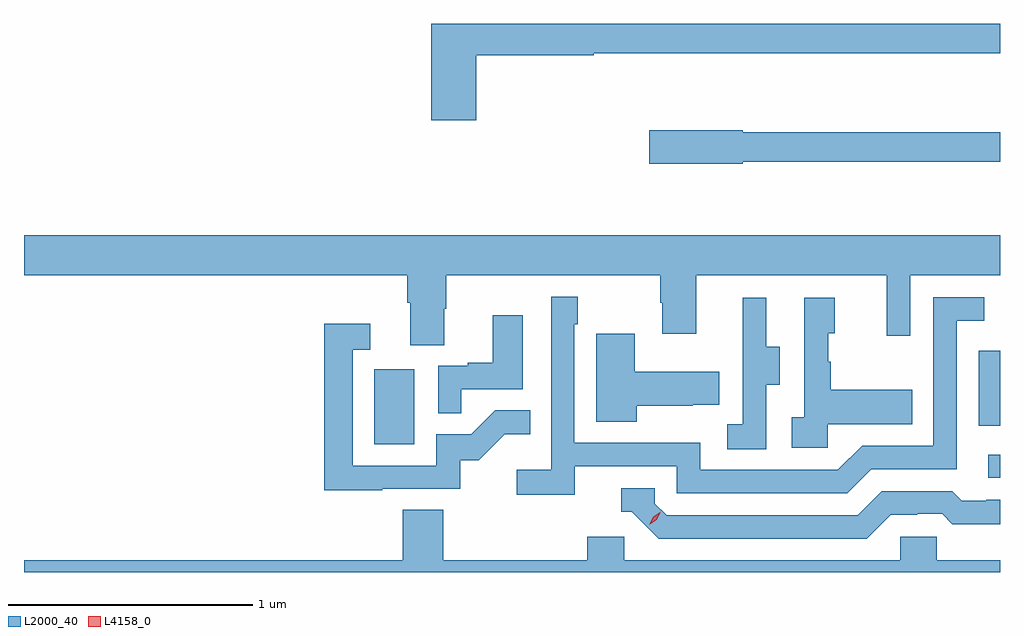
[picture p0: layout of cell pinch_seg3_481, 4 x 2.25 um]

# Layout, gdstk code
import gdstk
lib = gdstk.Library(unit=1e-6, precision=1e-09)
def R(c, l, rs):  # rectangles x0, y0, x1, y1
    for r in rs: c.add(gdstk.rectangle(r[:2], r[2:], *l))
def P(c, l, *ps):  # polygons
    for p in ps: c.add(gdstk.Polygon(p, *l))
L2000_40 = (2000, 40)
L4158_0 = (4158, 0)

pinch_seg3_481 = lib.new_cell('pinch_seg3_481')
R(pinch_seg3_481, L2000_40, [(1011.213,666.786,1011.262,666.882), (1008.698,666.924,1008.862,667.231), (1011.174,666.999,1011.262,667.308)])
P(pinch_seg3_481, L2000_40, [(1009.115,668.518),(1009.598,668.518),(1009.598,668.526),(1011.262,668.526),(1011.262,668.647),(1008.932,668.647),(1008.932,668.253),(1009.115,668.253)],
  [(1010.208,668.082),(1011.262,668.082),(1011.262,668.203),(1010.208,668.203),(1010.208,668.211),(1009.824,668.211),(1009.824,668.074),(1010.208,668.074)],
  [(1008.985,667.479),(1008.993,667.479),(1008.993,667.616),(1009.87,667.616),(1009.87,667.505),(1009.877,667.505),(1009.877,667.377),(1010.017,667.377),(1010.017,667.616),(1010.798,667.616),(1010.798,667.368),(1010.895,667.368),(1010.895,667.616),(1011.262,667.616),(1011.262,667.78),(1007.262,667.78),(1007.262,667.616),(1008.833,667.616),(1008.833,667.504),(1008.845,667.504),(1008.845,667.33),(1008.985,667.33)],
  [(1009.52,666.834),(1009.938,666.834),(1009.938,666.723),(1010.635,666.723),(1010.734,666.822),(1011.084,666.822),(1011.084,667.431),(1011.197,667.431),(1011.197,667.527),(1010.988,667.527),(1010.988,666.918),(1010.697,666.918),(1010.598,666.819),(1010.034,666.819),(1010.034,666.93),(1009.518,666.93),(1009.518,667.415),(1009.531,667.415),(1009.531,667.528),(1009.422,667.528),(1009.422,666.82),(1009.281,666.82),(1009.281,666.718),(1009.52,666.718)],
  [(1010.304,667.168),(1010.359,667.168),(1010.359,667.323),(1010.305,667.323),(1010.305,667.525),(1010.207,667.525),(1010.207,667.311),(1010.208,667.311),(1010.208,667.007),(1010.145,667.007),(1010.145,666.904),(1010.304,666.904)],
  [(1010.556,667.007),(1010.903,667.007),(1010.903,667.147),(1010.569,667.147),(1010.569,667.262),(1010.559,667.262),(1010.559,667.38),(1010.584,667.38),(1010.584,667.525),(1010.46,667.525),(1010.46,667.034),(1010.409,667.034),(1010.409,666.909),(1010.556,666.909)],
  [(1009.055,667.149),(1009.306,667.149),(1009.306,667.453),(1009.184,667.453),(1009.184,667.258),(1009.081,667.258),(1009.081,667.245),(1008.96,667.245),(1008.96,667.051),(1009.055,667.051)],
  [(1008.731,666.741),(1009.05,666.741),(1009.05,666.858),(1009.126,666.858),(1009.233,666.965),(1009.337,666.965),(1009.337,667.064),(1009.194,667.064),(1009.096,666.966),(1008.951,666.966),(1008.951,666.837),(1008.609,666.837),(1008.609,667.311),(1008.682,667.311),(1008.682,667.417),(1008.493,667.417),(1008.493,666.736),(1008.731,666.736)],
  [(1009.773,667.082),(1010.003,667.082),(1010.003,667.085),(1010.111,667.085),(1010.111,667.222),(1009.765,667.222),(1009.765,667.378),(1009.607,667.378),(1009.607,667.017),(1009.773,667.017)],
  [(1010.815,666.636),(1010.922,666.636),(1010.922,666.639),(1011.025,666.639),(1011.067,666.597),(1011.262,666.597),(1011.262,666.696),(1011.205,666.696),(1011.205,666.693),(1011.106,666.693),(1011.067,666.732),(1010.778,666.732),(1010.679,666.633),(1009.896,666.633),(1009.848,666.681),(1009.848,666.744),(1009.709,666.744),(1009.709,666.648),(1009.752,666.648),(1009.863,666.537),(1010.716,666.537)],
  [(1011.262,666.448),(1011.003,666.448),(1011.003,666.546),(1010.853,666.546),(1010.853,666.448),(1009.722,666.448),(1009.722,666.546),(1009.571,666.546),(1009.571,666.448),(1008.98,666.448),(1008.98,666.656),(1008.815,666.656),(1008.815,666.448),(1007.262,666.448),(1007.262,666.4),(1011.262,666.4)])
P(pinch_seg3_481, L4158_0, [(1009.825,666.595),(1009.825,666.595),(1009.841,666.628),(1009.872,666.647),(1009.872,666.647),(1009.872,666.647),(1009.856,666.614),(1009.825,666.595)])

lib.write_gds('pinch_seg3_481.gds')
